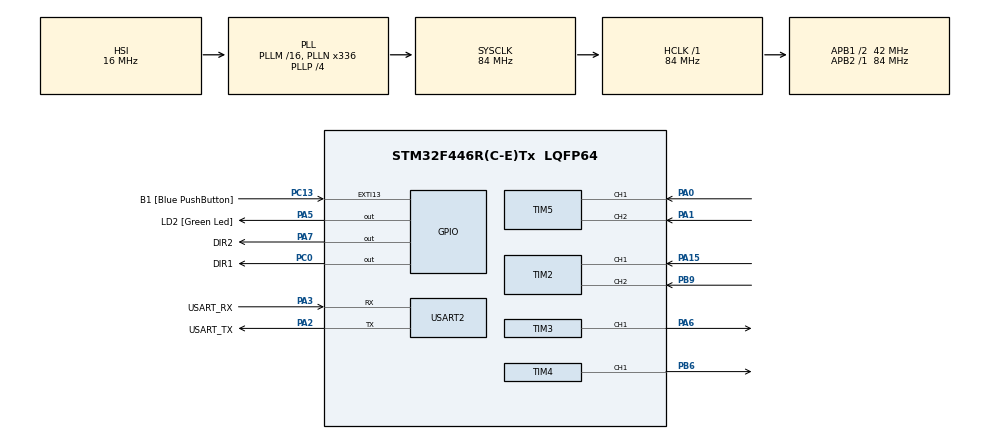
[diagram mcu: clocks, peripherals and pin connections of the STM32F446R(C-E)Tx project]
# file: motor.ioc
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Mcu.Family=STM32F4
Mcu.Name=STM32F446R(C-E)Tx
Mcu.Package=LQFP64
NVIC.PriorityGroup=NVIC_PRIORITYGROUP_0
PA0-WKUP.Signal=S_TIM5_CH1
PA1.Signal=S_TIM5_CH2
PA13.GPIO_Label=TMS
PA13.Mode=Serial_Wire
PA13.Signal=SYS_JTMS-SWDIO
PA14.GPIO_Label=TCK
PA14.Mode=Serial_Wire
PA14.Signal=SYS_JTCK-SWCLK
PA15.Signal=S_TIM2_CH1_ETR
PA2.GPIO_Label=USART_TX
PA2.Mode=Asynchronous
PA2.Signal=USART2_TX
PA3.GPIO_Label=USART_RX
PA3.Mode=Asynchronous
PA3.Signal=USART2_RX
PA5.GPIO_Label=LD2 [Green Led]
PA5.Signal=GPIO_Output
PA6.Signal=S_TIM3_CH1
PA7.GPIO_Label=DIR2
PA7.Signal=GPIO_Output
PB3.GPIO_Label=SWO
PB3.Signal=SYS_JTDO-SWO
PB6.Signal=S_TIM4_CH1
PB9.Signal=S_TIM2_CH2
PC0.GPIO_Label=DIR1
PC0.Signal=GPIO_Output
PC13.GPIO_Label=B1 [Blue PushButton]
PC13.GPIO_ModeDefaultEXTI=GPIO_MODE_IT_FALLING
PC13.Signal=GPXTI13
PC14-OSC32_IN.Mode=LSE-External-Oscillator
PC14-OSC32_IN.Signal=RCC_OSC32_IN
PC15-OSC32_OUT.Mode=LSE-External-Oscillator
PC15-OSC32_OUT.Signal=RCC_OSC32_OUT
PH0-OSC_IN.Mode=HSE-External-Oscillator
PH0-OSC_IN.Signal=RCC_OSC_IN
PH1-OSC_OUT.Mode=HSE-External-Oscillator
PH1-OSC_OUT.Signal=RCC_OSC_OUT
ProjectManager.HeapSize=0x200
ProjectManager.StackSize=0x400
ProjectManager.TargetToolchain=STM32CubeIDE
RCC.48MHZClocksFreq_Value=84000000
RCC.AHBFreq_Value=84000000
RCC.APB1CLKDivider=RCC_HCLK_DIV2
RCC.APB1Freq_Value=42000000
RCC.APB1TimFreq_Value=84000000
RCC.APB2Freq_Value=84000000
RCC.APB2TimFreq_Value=84000000
RCC.CortexFreq_Value=84000000
RCC.FLatency-AdvancedSettings=FLASH_LATENCY_2
RCC.HCLKFreq_Value=84000000
RCC.HSE_VALUE=8000000
RCC.HSI_VALUE=16000000
RCC.PLLN=336
RCC.PLLP=RCC_PLLP_DIV4
RCC.SYSCLKFreq_VALUE=84000000
RCC.SYSCLKSource=RCC_SYSCLKSOURCE_PLLCLK
RCC.USBFreq_Value=168000000
RCC.VCOOutputFreq_Value=336000000
SH.S_TIM2_CH1_ETR.0=TIM2_CH1,Encoder_Interface
SH.S_TIM2_CH2.0=TIM2_CH2,Encoder_Interface
SH.S_TIM3_CH1.0=TIM3_CH1,PWM Generation1 CH1
SH.S_TIM4_CH1.0=TIM4_CH1,PWM Generation1 CH1
SH.S_TIM5_CH1.0=TIM5_CH1,Encoder_Interface
SH.S_TIM5_CH2.0=TIM5_CH2,Encoder_Interface
TIM2.EncoderMode=TIM_ENCODERMODE_TI12
TIM2.IC1Filter=5
TIM2.IC2Filter=5
TIM3.Channel-PWM\ Generation1\ CH1=TIM_CHANNEL_1
TIM3.Period=10-1
TIM3.Prescaler=84-1
TIM3.Pulse-PWM\ Generation1\ CH1=5
TIM4.Channel-PWM\ Generation1\ CH1=TIM_CHANNEL_1
TIM4.Period=10-1
TIM4.Prescaler=84-1
TIM4.Pulse-PWM\ Generation1\ CH1=5
TIM5.EncoderMode=TIM_ENCODERMODE_TI12
TIM5.IC1Filter=5
TIM5.IC2Filter=5
USART2.VirtualMode=VM_ASYNC
board=NUCLEO-F446RE

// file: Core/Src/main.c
/* USER CODE BEGIN Header */
/**
  ******************************************************************************
  * @file           : main.c
  * @brief          : Main program body
  ******************************************************************************
  * @attention
  *
  * Copyright (c) 2025 STMicroelectronics.
  * All rights reserved.
  *
  * This software is licensed under terms that can be found in the LICENSE file
  * in the root directory of this software component.
  * If no LICENSE file comes with this software, it is provided AS-IS.
  *
  ******************************************************************************
  */
/* USER CODE END Header */
#include "main.h"

/* USER CODE BEGIN Includes */
#include <stdio.h>
/* USER CODE END Includes */

TIM_HandleTypeDef htim2;
TIM_HandleTypeDef htim3;
TIM_HandleTypeDef htim4;
TIM_HandleTypeDef htim5;

UART_HandleTypeDef huart2;

/* USER CODE BEGIN PV */
int32_t motor1StepAccumulator = 0;
int32_t motor2StepAccumulator = 0;
#define MIN_STEPS_THRESHOLD 100
/* USER CODE END PV */

void SystemClock_Config(void);
static void MX_GPIO_Init(void);
static void MX_USART2_UART_Init(void);
static void MX_TIM3_Init(void);
static void MX_TIM2_Init(void);
static void MX_TIM5_Init(void);
static void MX_TIM4_Init(void);
/* USER CODE BEGIN PFP */
void sendStepsMotor1(int32_t steps);
void sendStepsMotor2(int32_t steps);
/* USER CODE END PFP */

int main(void)
{

  /* MCU Configuration--------------------------------------------------------*/

  /* Reset of all peripherals, Initializes the Flash interface and the Systick. */
  HAL_Init();

  /* Configure the system clock */
  SystemClock_Config();

  /* Initialize all configured peripherals */
  MX_GPIO_Init();
  MX_USART2_UART_Init();
  MX_TIM3_Init();
  MX_TIM2_Init();
  MX_TIM5_Init();
  MX_TIM4_Init();
  /* USER CODE BEGIN 2 */
  int counter2Value = 0;
  int pastCounter2Value = 0;

  int counter1Value = 0;
  int pastCounter1Value = 0;

  float angleValue=0;
  char printMessage[200]={'\0'};

  int32_t encoderChange = 0;
  int32_t motorStepsNeeded = 0;

  HAL_TIM_Encoder_Start(&htim2, TIM_CHANNEL_ALL);
  HAL_TIM_Encoder_Start(&htim5, TIM_CHANNEL_ALL);

  /* USER CODE END 2 */

  /* Infinite loop */
  /* USER CODE BEGIN WHILE */

  // test code
  	for (int i = 0; i < 16; i++) {
  		sendStepsMotor2(960000);
  		HAL_Delay(3000);  // Wait for 1 second
  		sendStepsMotor1(-96000);
  		HAL_Delay(3000);
  	}
  while (1)
  {

	  counter1Value = TIM5->CNT;
	  //handle encoder and motor 1
	  if (counter1Value != pastCounter1Value) {
		 encoderChange = counter1Value - pastCounter1Value;
		 motorStepsNeeded = encoderChange * 4 * 20; // (9600/2400)
		 sendStepsMotor1(motorStepsNeeded);

		 // Calculate and display angle and other details
		 angleValue = (360.0/2400.0) * ((float)counter1Value);
		 sprintf(printMessage, "Encoder 1: %d, Angle: %.2f, Change: %ld, Motor 1 Steps Needed: %ld,  Accumulated: %ld\n\r",
				  counter1Value, angleValue, encoderChange, motorStepsNeeded, motor1StepAccumulator);
		 HAL_UART_Transmit(&huart2, (uint8_t*)printMessage, strlen(printMessage), 300);
	  }
	  pastCounter1Value = counter1Value;

	  counter2Value = TIM2->CNT;
	  //handle encoder and motor 2
	  if (counter2Value != pastCounter2Value) {
		 encoderChange = counter2Value - pastCounter2Value;
		 motorStepsNeeded = encoderChange * 4; // (9600/2400)
		 sendStepsMotor2(motorStepsNeeded);

		 // Calculate and display angle
		 angleValue = (360.0/2400.0) * ((float)counter2Value);
		 sprintf(printMessage, "Encoder 2: %d, Angle: %.2f, Change: %ld, Motor 1 Steps Needed: %ld\n\r",
				  counter2Value, angleValue, encoderChange, motorStepsNeeded);
		 HAL_UART_Transmit(&huart2, (uint8_t*)printMessage, strlen(printMessage), 300);

	  }
	  pastCounter2Value = counter2Value;

    /* USER CODE END WHILE */

  }
}

void SystemClock_Config(void)
{
  RCC_OscInitTypeDef RCC_OscInitStruct = {0};
  RCC_ClkInitTypeDef RCC_ClkInitStruct = {0};

  /** Configure the main internal regulator output voltage
  */
  __HAL_RCC_PWR_CLK_ENABLE();
  __HAL_PWR_VOLTAGESCALING_CONFIG(PWR_REGULATOR_VOLTAGE_SCALE3);

  /** Initializes the RCC Oscillators according to the specified parameters
  * in the RCC_OscInitTypeDef structure.
  */
  RCC_OscInitStruct.OscillatorType = RCC_OSCILLATORTYPE_HSI;
  RCC_OscInitStruct.HSIState = RCC_HSI_ON;
  RCC_OscInitStruct.HSICalibrationValue = RCC_HSICALIBRATION_DEFAULT;
  RCC_OscInitStruct.PLL.PLLState = RCC_PLL_ON;
  RCC_OscInitStruct.PLL.PLLSource = RCC_PLLSOURCE_HSI;
  RCC_OscInitStruct.PLL.PLLM = 16;
  RCC_OscInitStruct.PLL.PLLN = 336;
  RCC_OscInitStruct.PLL.PLLP = RCC_PLLP_DIV4;
  RCC_OscInitStruct.PLL.PLLQ = 2;
  RCC_OscInitStruct.PLL.PLLR = 2;
  if (HAL_RCC_OscConfig(&RCC_OscInitStruct) != HAL_OK)
  {
    Error_Handler();
  }

  /** Initializes the CPU, AHB and APB buses clocks
  */
  RCC_ClkInitStruct.ClockType = RCC_CLOCKTYPE_HCLK|RCC_CLOCKTYPE_SYSCLK
                              |RCC_CLOCKTYPE_PCLK1|RCC_CLOCKTYPE_PCLK2;
  RCC_ClkInitStruct.SYSCLKSource = RCC_SYSCLKSOURCE_PLLCLK;
  RCC_ClkInitStruct.AHBCLKDivider = RCC_SYSCLK_DIV1;
  RCC_ClkInitStruct.APB1CLKDivider = RCC_HCLK_DIV2;
  RCC_ClkInitStruct.APB2CLKDivider = RCC_HCLK_DIV1;

  if (HAL_RCC_ClockConfig(&RCC_ClkInitStruct, FLASH_LATENCY_2) != HAL_OK)
  {
    Error_Handler();
  }
}

static void MX_TIM2_Init(void)
{

  TIM_Encoder_InitTypeDef sConfig = {0};
  TIM_MasterConfigTypeDef sMasterConfig = {0};

  htim2.Instance = TIM2;
  htim2.Init.Prescaler = 0;
  htim2.Init.CounterMode = TIM_COUNTERMODE_UP;
  htim2.Init.Period = 4294967295;
  htim2.Init.ClockDivision = TIM_CLOCKDIVISION_DIV1;
  htim2.Init.AutoReloadPreload = TIM_AUTORELOAD_PRELOAD_DISABLE;
  sConfig.EncoderMode = TIM_ENCODERMODE_TI12;
  sConfig.IC1Polarity = TIM_ICPOLARITY_RISING;
  sConfig.IC1Selection = TIM_ICSELECTION_DIRECTTI;
  sConfig.IC1Prescaler = TIM_ICPSC_DIV1;
  sConfig.IC1Filter = 5;
  sConfig.IC2Polarity = TIM_ICPOLARITY_RISING;
  sConfig.IC2Selection = TIM_ICSELECTION_DIRECTTI;
  sConfig.IC2Prescaler = TIM_ICPSC_DIV1;
  sConfig.IC2Filter = 5;
  if (HAL_TIM_Encoder_Init(&htim2, &sConfig) != HAL_OK)
  {
    Error_Handler();
  }
  sMasterConfig.MasterOutputTrigger = TIM_TRGO_RESET;
  sMasterConfig.MasterSlaveMode = TIM_MASTERSLAVEMODE_DISABLE;
  if (HAL_TIMEx_MasterConfigSynchronization(&htim2, &sMasterConfig) != HAL_OK)
  {
    Error_Handler();
  }

}

static void MX_TIM3_Init(void)
{

  TIM_MasterConfigTypeDef sMasterConfig = {0};
  TIM_OC_InitTypeDef sConfigOC = {0};

  htim3.Instance = TIM3;
  htim3.Init.Prescaler = 84-1;
  htim3.Init.CounterMode = TIM_COUNTERMODE_UP;
  htim3.Init.Period = 10-1;
  htim3.Init.ClockDivision = TIM_CLOCKDIVISION_DIV1;
  htim3.Init.AutoReloadPreload = TIM_AUTORELOAD_PRELOAD_DISABLE;
  if (HAL_TIM_PWM_Init(&htim3) != HAL_OK)
  {
    Error_Handler();
  }
  sMasterConfig.MasterOutputTrigger = TIM_TRGO_RESET;
  sMasterConfig.MasterSlaveMode = TIM_MASTERSLAVEMODE_DISABLE;
  if (HAL_TIMEx_MasterConfigSynchronization(&htim3, &sMasterConfig) != HAL_OK)
  {
    Error_Handler();
  }
  sConfigOC.OCMode = TIM_OCMODE_PWM1;
  sConfigOC.Pulse = 5;
  sConfigOC.OCPolarity = TIM_OCPOLARITY_HIGH;
  sConfigOC.OCFastMode = TIM_OCFAST_DISABLE;
  if (HAL_TIM_PWM_ConfigChannel(&htim3, &sConfigOC, TIM_CHANNEL_1) != HAL_OK)
  {
    Error_Handler();
  }
  HAL_TIM_MspPostInit(&htim3);

}

static void MX_TIM4_Init(void)
{

  TIM_MasterConfigTypeDef sMasterConfig = {0};
  TIM_OC_InitTypeDef sConfigOC = {0};

  htim4.Instance = TIM4;
  htim4.Init.Prescaler = 84-1;
  htim4.Init.CounterMode = TIM_COUNTERMODE_UP;
  htim4.Init.Period = 1000-1;
  htim4.Init.ClockDivision = TIM_CLOCKDIVISION_DIV1;
  htim4.Init.AutoReloadPreload = TIM_AUTORELOAD_PRELOAD_DISABLE;
  if (HAL_TIM_PWM_Init(&htim4) != HAL_OK)
  {
    Error_Handler();
  }
  sMasterConfig.MasterOutputTrigger = TIM_TRGO_RESET;
  sMasterConfig.MasterSlaveMode = TIM_MASTERSLAVEMODE_DISABLE;
  if (HAL_TIMEx_MasterConfigSynchronization(&htim4, &sMasterConfig) != HAL_OK)
  {
    Error_Handler();
  }
  sConfigOC.OCMode = TIM_OCMODE_PWM1;
  sConfigOC.Pulse = 500;
  sConfigOC.OCPolarity = TIM_OCPOLARITY_HIGH;
  sConfigOC.OCFastMode = TIM_OCFAST_DISABLE;
  if (HAL_TIM_PWM_ConfigChannel(&htim4, &sConfigOC, TIM_CHANNEL_1) != HAL_OK)
  {
    Error_Handler();
  }
  HAL_TIM_MspPostInit(&htim4);

}

static void MX_TIM5_Init(void)
{

  TIM_Encoder_InitTypeDef sConfig = {0};
  TIM_MasterConfigTypeDef sMasterConfig = {0};

  htim5.Instance = TIM5;
  htim5.Init.Prescaler = 0;
  htim5.Init.CounterMode = TIM_COUNTERMODE_UP;
  htim5.Init.Period = 4294967295;
  htim5.Init.ClockDivision = TIM_CLOCKDIVISION_DIV1;
  htim5.Init.AutoReloadPreload = TIM_AUTORELOAD_PRELOAD_DISABLE;
  sConfig.EncoderMode = TIM_ENCODERMODE_TI12;
  sConfig.IC1Polarity = TIM_ICPOLARITY_RISING;
  sConfig.IC1Selection = TIM_ICSELECTION_DIRECTTI;
  sConfig.IC1Prescaler = TIM_ICPSC_DIV1;
  sConfig.IC1Filter = 5;
  sConfig.IC2Polarity = TIM_ICPOLARITY_RISING;
  sConfig.IC2Selection = TIM_ICSELECTION_DIRECTTI;
  sConfig.IC2Prescaler = TIM_ICPSC_DIV1;
  sConfig.IC2Filter = 5;
  if (HAL_TIM_Encoder_Init(&htim5, &sConfig) != HAL_OK)
  {
    Error_Handler();
  }
  sMasterConfig.MasterOutputTrigger = TIM_TRGO_RESET;
  sMasterConfig.MasterSlaveMode = TIM_MASTERSLAVEMODE_DISABLE;
  if (HAL_TIMEx_MasterConfigSynchronization(&htim5, &sMasterConfig) != HAL_OK)
  {
    Error_Handler();
  }

}

static void MX_USART2_UART_Init(void)
{

  huart2.Instance = USART2;
  huart2.Init.BaudRate = 115200;
  huart2.Init.WordLength = UART_WORDLENGTH_8B;
  huart2.Init.StopBits = UART_STOPBITS_1;
  huart2.Init.Parity = UART_PARITY_NONE;
  huart2.Init.Mode = UART_MODE_TX_RX;
  huart2.Init.HwFlowCtl = UART_HWCONTROL_NONE;
  huart2.Init.OverSampling = UART_OVERSAMPLING_16;
  if (HAL_UART_Init(&huart2) != HAL_OK)
  {
    Error_Handler();
  }

}

static void MX_GPIO_Init(void)
{
  GPIO_InitTypeDef GPIO_InitStruct = {0};

  /* GPIO Ports Clock Enable */
  __HAL_RCC_GPIOC_CLK_ENABLE();
  __HAL_RCC_GPIOH_CLK_ENABLE();
  __HAL_RCC_GPIOA_CLK_ENABLE();
  __HAL_RCC_GPIOB_CLK_ENABLE();

  /*Configure GPIO pin Output Level */
  HAL_GPIO_WritePin(DIR1_GPIO_Port, DIR1_Pin, GPIO_PIN_RESET);

  /*Configure GPIO pin Output Level */
  HAL_GPIO_WritePin(GPIOA, LD2_Pin|DIR2_Pin, GPIO_PIN_RESET);

  /*Configure GPIO pin : B1_Pin */
  GPIO_InitStruct.Pin = B1_Pin;
  GPIO_InitStruct.Mode = GPIO_MODE_IT_FALLING;
  GPIO_InitStruct.Pull = GPIO_NOPULL;
  HAL_GPIO_Init(B1_GPIO_Port, &GPIO_InitStruct);

  /*Configure GPIO pin : DIR1_Pin */
  GPIO_InitStruct.Pin = DIR1_Pin;
  GPIO_InitStruct.Mode = GPIO_MODE_OUTPUT_PP;
  GPIO_InitStruct.Pull = GPIO_NOPULL;
  GPIO_InitStruct.Speed = GPIO_SPEED_FREQ_LOW;
  HAL_GPIO_Init(DIR1_GPIO_Port, &GPIO_InitStruct);

  /*Configure GPIO pins : LD2_Pin DIR2_Pin */
  GPIO_InitStruct.Pin = LD2_Pin|DIR2_Pin;
  GPIO_InitStruct.Mode = GPIO_MODE_OUTPUT_PP;
  GPIO_InitStruct.Pull = GPIO_NOPULL;
  GPIO_InitStruct.Speed = GPIO_SPEED_FREQ_LOW;
  HAL_GPIO_Init(GPIOA, &GPIO_InitStruct);

}

/* USER CODE BEGIN 4 */

/**
 * @brief Send exact number of steps to servo driver 1
 * @param steps Number of steps (positive = forward, negative = reverse)
 * @retval None
 */
void sendStepsMotor1(int32_t steps) {
    if (steps == 0) return;

    // Set direction based on step sign
    if (steps > 0) {
        HAL_GPIO_WritePin(DIR1_GPIO_Port, DIR1_Pin, GPIO_PIN_RESET);  // Forward
    } else {
        HAL_GPIO_WritePin(DIR1_GPIO_Port, DIR1_Pin, GPIO_PIN_SET); // Reverse
        steps = -steps;  // Make positive for pulse counting
    }

   /* // At 100kHz PWM: 0.01ms per step
    uint32_t delayTime = steps / 100;  // Convert to milliseconds
    if (delayTime == 0) delayTime = 1;  // Minimum 1ms for very small moves*/

    // Enable DWT cycle counter if not already enabled
	if (!(DWT->CTRL & DWT_CTRL_CYCCNTENA_Msk)) {
		CoreDebug->DEMCR |= CoreDebug_DEMCR_TRCENA_Msk;
		DWT->CYCCNT = 0;
		DWT->CTRL |= DWT_CTRL_CYCCNTENA_Msk;
	}

	// At 100kHz PWM: 10 microseconds per step
	uint32_t delayMicros = steps * 10;

    HAL_TIM_PWM_Start(&htim3, TIM_CHANNEL_1);

    // Use microsecond delay for better precision
    uint32_t start = DWT->CYCCNT;
    uint32_t cycles = (SystemCoreClock / 1000000) * delayMicros;
    while ((DWT->CYCCNT - start) < cycles);

    HAL_TIM_PWM_Stop(&htim3, TIM_CHANNEL_1);
}

void sendStepsMotor2(int32_t steps) {
    if (steps == 0) return;

    // Set direction based on step sign
    if (steps > 0) {
        HAL_GPIO_WritePin(DIR2_GPIO_Port, DIR2_Pin, GPIO_PIN_RESET);  // Forward
    } else {
        HAL_GPIO_WritePin(DIR2_GPIO_Port, DIR2_Pin, GPIO_PIN_SET); // Reverse
        steps = -steps;  // Make positive for pulse counting
    }

    // Enable DWT cycle counter if not already enabled
    if (!(DWT->CTRL & DWT_CTRL_CYCCNTENA_Msk)) {
        CoreDebug->DEMCR |= CoreDebug_DEMCR_TRCENA_Msk;
        DWT->CYCCNT = 0;
        DWT->CTRL |= DWT_CTRL_CYCCNTENA_Msk;
    }

    // At 100kHz PWM: 10 microseconds per step
	uint32_t delayMicros = steps * 1000;

	HAL_TIM_PWM_Start(&htim4, TIM_CHANNEL_1);

	// Use microsecond delay for better precision
	uint32_t start = DWT->CYCCNT;
	uint32_t cycles = (SystemCoreClock / 1000000) * delayMicros;
	while ((DWT->CYCCNT - start) < cycles);

	HAL_TIM_PWM_Stop(&htim4, TIM_CHANNEL_1);
}

/* USER CODE END 4 */

void Error_Handler(void)
{
  __disable_irq();
  while (1)
  {
  }
}
